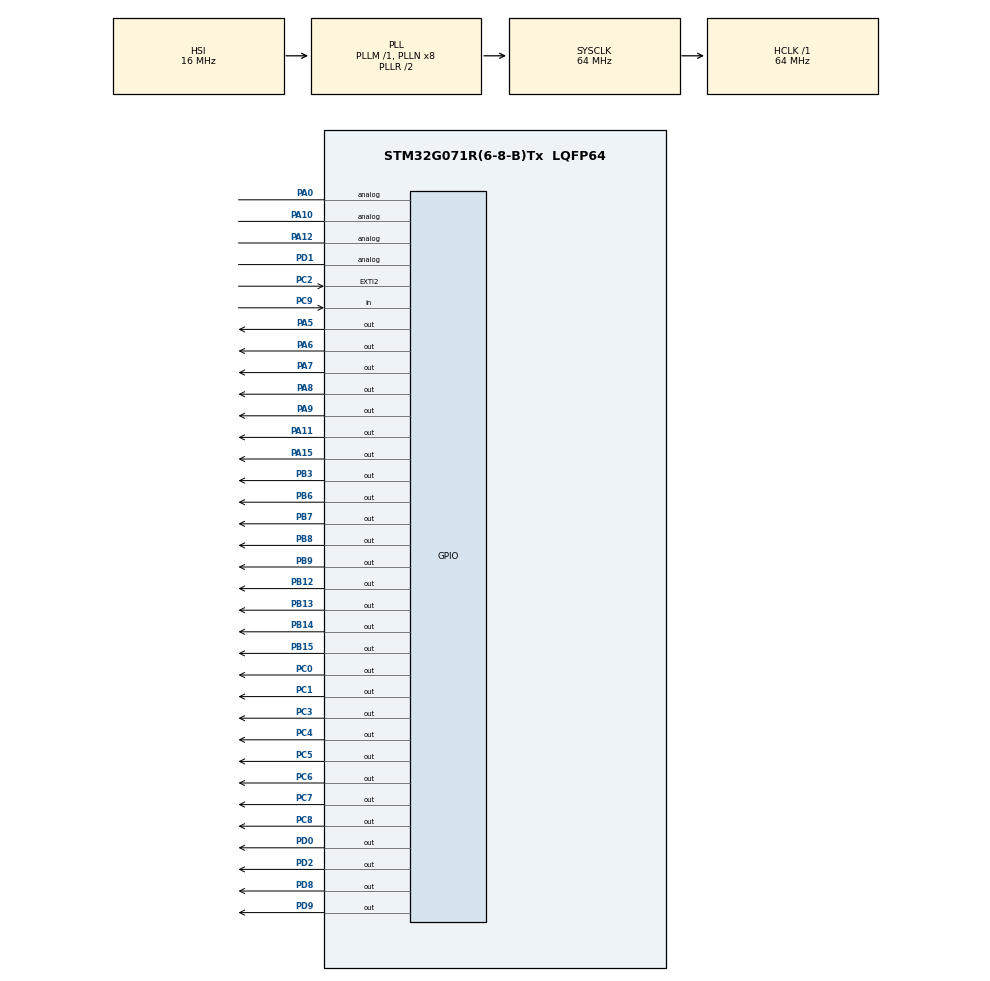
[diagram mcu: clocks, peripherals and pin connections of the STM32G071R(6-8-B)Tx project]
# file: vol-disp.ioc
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Mcu.Family=STM32G0
Mcu.Name=STM32G071R(6-8-B)Tx
Mcu.Package=LQFP64
NVIC.TIM6_DAC_LPTIM1_IRQn=true\:0\:0\:false\:false\:true\:true\:true\:true
PA0.Signal=GPIO_Analog
PA1.Signal=SPI1_SCK
PA10.Signal=GPIO_Analog
PA11\ [PA9].Signal=GPIO_Output
PA12\ [PA10].Signal=GPIO_Analog
PA13.Mode=Serial_Wire
PA13.Signal=SYS_SWDIO
PA14-BOOT0.Mode=Serial_Wire
PA14-BOOT0.Signal=SYS_SWCLK
PA15.Signal=GPIO_Output
PA2.Signal=SPI1_MOSI
PA3.Signal=SPI2_MISO
PA4.Signal=SPI1_NSS
PA5.Signal=GPIO_Output
PA6.Signal=GPIO_Output
PA7.Signal=GPIO_Output
PA8.Signal=GPIO_Output
PA9.Signal=GPIO_Output
PB12.Signal=GPIO_Output
PB13.Signal=GPIO_Output
PB14.Signal=GPIO_Output
PB15.Signal=GPIO_Output
PB3.Signal=GPIO_Output
PB6.Signal=GPIO_Output
PB7.Signal=GPIO_Output
PB8.Signal=GPIO_Output
PB9.Signal=GPIO_Output
PC0.Signal=GPIO_Output
PC1.Signal=GPIO_Output
PC10.Signal=USART3_TX
PC11.Signal=USART3_RX
PC2.Signal=GPXTI2
PC3.Signal=GPIO_Output
PC4.Signal=GPIO_Output
PC5.Signal=GPIO_Output
PC6.Signal=GPIO_Output
PC7.Signal=GPIO_Output
PC8.Signal=GPIO_Output
PC9.Signal=GPIO_Input
PD0.Signal=GPIO_Output
PD1.Signal=GPIO_Analog
PD2.Signal=GPIO_Output
PD8.Signal=GPIO_Output
PD9.Signal=GPIO_Output
ProjectManager.HeapSize=0x200
ProjectManager.StackSize=0x400
ProjectManager.TargetToolchain=STM32CubeIDE
RCC.ADCFreq_Value=64000000
RCC.AHBFreq_Value=64000000
RCC.CortexFreq_Value=64000000
RCC.EXTERNAL_CLOCK_VALUE=48000
RCC.HCLKFreq_Value=64000000
RCC.HSE_VALUE=8000000
RCC.HSI_VALUE=16000000
RCC.LSE_VALUE=32768
RCC.SYSCLKFreq_VALUE=64000000
RCC.SYSCLKSource=RCC_SYSCLKSOURCE_PLLCLK
RCC.VCOOutputFreq_Value=128000000
TIM6.Period=999
TIM6.Prescaler=999
VP_TIM6_VS_ClockSourceINT.Mode=Enable_Timer
board=custom

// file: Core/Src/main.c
/* USER CODE BEGIN Header */
/**
  ******************************************************************************
  * @file           : main.c
  * @brief          : Main program body
  ******************************************************************************
  * @attention
  *
  * Copyright (c) 2026 STMicroelectronics.
  * All rights reserved.
  *
  * This software is licensed under terms that can be found in the LICENSE file
  * in the root directory of this software component.
  * If no LICENSE file comes with this software, it is provided AS-IS.
  *
  ******************************************************************************
  */
#include <stdbool.h>
#include <stdio.h>
#include "pinDriver.h"
#include "pinRenderer.h"
#include "motorDriver.h"
#include "img.h"
/* USER CODE END Header */
#include "main.h"

TIM_HandleTypeDef htim6;

void SystemClock_Config(void);
static void MX_GPIO_Init(void);
static void MX_TIM6_Init(void);

/* USER CODE BEGIN 0 */

#ifndef SRC_PINDRIVER_H_
#define SRC_PINDRIVER_H_

#endif /* SRC_PINDRIVER_H_ */

/* USER CODE END 0 */

int main(void)
{

  /* MCU Configuration--------------------------------------------------------*/

  /* Reset of all peripherals, Initializes the Flash interface and the Systick. */
  HAL_Init();

  /* Configure the system clock */
  SystemClock_Config();

  /* Initialize all configured peripherals */
  MX_GPIO_Init();
  MX_TIM6_Init();
  /* USER CODE BEGIN 2 */
  HAL_TIM_Base_Start_IT(&htim6);

  GPIO_Outputs_Init();
  motorInit();
  initImgRender();

  loadImage(flame);
//  setFrame(1);
  /* USER CODE END 2 */

  /* Infinite loop */
  while (1)
  {

    /* USER CODE BEGIN 3 */
	tickImg();
	incMotor();
	HAL_Delay(1);
  }
  /* USER CODE END 3 */
}

void SystemClock_Config(void)
{
  RCC_OscInitTypeDef RCC_OscInitStruct = {0};
  RCC_ClkInitTypeDef RCC_ClkInitStruct = {0};

  /** Configure the main internal regulator output voltage
  */
  HAL_PWREx_ControlVoltageScaling(PWR_REGULATOR_VOLTAGE_SCALE1);

  /** Initializes the RCC Oscillators according to the specified parameters
  * in the RCC_OscInitTypeDef structure.
  */
  RCC_OscInitStruct.OscillatorType = RCC_OSCILLATORTYPE_HSI;
  RCC_OscInitStruct.HSIState = RCC_HSI_ON;
  RCC_OscInitStruct.HSIDiv = RCC_HSI_DIV1;
  RCC_OscInitStruct.HSICalibrationValue = RCC_HSICALIBRATION_DEFAULT;
  RCC_OscInitStruct.PLL.PLLState = RCC_PLL_ON;
  RCC_OscInitStruct.PLL.PLLSource = RCC_PLLSOURCE_HSI;
  RCC_OscInitStruct.PLL.PLLM = RCC_PLLM_DIV1;
  RCC_OscInitStruct.PLL.PLLN = 8;
  RCC_OscInitStruct.PLL.PLLP = RCC_PLLP_DIV2;
  RCC_OscInitStruct.PLL.PLLQ = RCC_PLLQ_DIV2;
  RCC_OscInitStruct.PLL.PLLR = RCC_PLLR_DIV2;
  if (HAL_RCC_OscConfig(&RCC_OscInitStruct) != HAL_OK)
  {
    Error_Handler();
  }

  /** Initializes the CPU, AHB and APB buses clocks
  */
  RCC_ClkInitStruct.ClockType = RCC_CLOCKTYPE_HCLK|RCC_CLOCKTYPE_SYSCLK
                              |RCC_CLOCKTYPE_PCLK1;
  RCC_ClkInitStruct.SYSCLKSource = RCC_SYSCLKSOURCE_PLLCLK;
  RCC_ClkInitStruct.AHBCLKDivider = RCC_SYSCLK_DIV1;
  RCC_ClkInitStruct.APB1CLKDivider = RCC_HCLK_DIV1;

  if (HAL_RCC_ClockConfig(&RCC_ClkInitStruct, FLASH_LATENCY_2) != HAL_OK)
  {
    Error_Handler();
  }
}

static void MX_TIM6_Init(void)
{

  TIM_MasterConfigTypeDef sMasterConfig = {0};

  htim6.Instance = TIM6;
  htim6.Init.Prescaler = 999;
  htim6.Init.CounterMode = TIM_COUNTERMODE_UP;
  htim6.Init.Period = 999;
  htim6.Init.AutoReloadPreload = TIM_AUTORELOAD_PRELOAD_DISABLE;
  if (HAL_TIM_Base_Init(&htim6) != HAL_OK)
  {
    Error_Handler();
  }
  sMasterConfig.MasterOutputTrigger = TIM_TRGO_RESET;
  sMasterConfig.MasterSlaveMode = TIM_MASTERSLAVEMODE_DISABLE;
  if (HAL_TIMEx_MasterConfigSynchronization(&htim6, &sMasterConfig) != HAL_OK)
  {
    Error_Handler();
  }

}

static void MX_GPIO_Init(void)
{
  GPIO_InitTypeDef GPIO_InitStruct = {0};

  /* GPIO Ports Clock Enable */
  __HAL_RCC_GPIOC_CLK_ENABLE();
  __HAL_RCC_GPIOA_CLK_ENABLE();
  __HAL_RCC_GPIOB_CLK_ENABLE();
  __HAL_RCC_GPIOD_CLK_ENABLE();

  /*Configure GPIO pin Output Level */
  HAL_GPIO_WritePin(GPIOC, GPIO_PIN_0|GPIO_PIN_1|GPIO_PIN_3|GPIO_PIN_4
                          |GPIO_PIN_5|GPIO_PIN_6|GPIO_PIN_7|GPIO_PIN_8, GPIO_PIN_RESET);

  /*Configure GPIO pin Output Level */
  HAL_GPIO_WritePin(GPIOA, GPIO_PIN_5|GPIO_PIN_6|GPIO_PIN_7|GPIO_PIN_8
                          |GPIO_PIN_9|GPIO_PIN_11|GPIO_PIN_15, GPIO_PIN_RESET);

  /*Configure GPIO pin Output Level */
  HAL_GPIO_WritePin(GPIOB, GPIO_PIN_12|GPIO_PIN_13|GPIO_PIN_14|GPIO_PIN_15
                          |GPIO_PIN_3|GPIO_PIN_6|GPIO_PIN_7|GPIO_PIN_8
                          |GPIO_PIN_9, GPIO_PIN_RESET);

  /*Configure GPIO pin Output Level */
  HAL_GPIO_WritePin(GPIOD, GPIO_PIN_8|GPIO_PIN_9|GPIO_PIN_0|GPIO_PIN_2, GPIO_PIN_RESET);

  /*Configure GPIO pins : PC11 PC10 */
  GPIO_InitStruct.Pin = GPIO_PIN_11|GPIO_PIN_10;
  GPIO_InitStruct.Mode = GPIO_MODE_AF_PP;
  GPIO_InitStruct.Pull = GPIO_NOPULL;
  GPIO_InitStruct.Speed = GPIO_SPEED_FREQ_LOW;
  GPIO_InitStruct.Alternate = GPIO_AF0_USART3;
  HAL_GPIO_Init(GPIOC, &GPIO_InitStruct);

  /*Configure GPIO pins : PC0 PC1 PC3 PC4
                           PC5 PC6 PC7 PC8 */
  GPIO_InitStruct.Pin = GPIO_PIN_0|GPIO_PIN_1|GPIO_PIN_3|GPIO_PIN_4
                          |GPIO_PIN_5|GPIO_PIN_6|GPIO_PIN_7|GPIO_PIN_8;
  GPIO_InitStruct.Mode = GPIO_MODE_OUTPUT_PP;
  GPIO_InitStruct.Pull = GPIO_NOPULL;
  GPIO_InitStruct.Speed = GPIO_SPEED_FREQ_LOW;
  HAL_GPIO_Init(GPIOC, &GPIO_InitStruct);

  /*Configure GPIO pin : PC2 */
  GPIO_InitStruct.Pin = GPIO_PIN_2;
  GPIO_InitStruct.Mode = GPIO_MODE_IT_RISING;
  GPIO_InitStruct.Pull = GPIO_NOPULL;
  HAL_GPIO_Init(GPIOC, &GPIO_InitStruct);

  /*Configure GPIO pins : PA0 PA10 PA12 */
  GPIO_InitStruct.Pin = GPIO_PIN_0|GPIO_PIN_10|GPIO_PIN_12;
  GPIO_InitStruct.Mode = GPIO_MODE_ANALOG;
  GPIO_InitStruct.Pull = GPIO_NOPULL;
  HAL_GPIO_Init(GPIOA, &GPIO_InitStruct);

  /*Configure GPIO pins : PA1 PA2 PA4 */
  GPIO_InitStruct.Pin = GPIO_PIN_1|GPIO_PIN_2|GPIO_PIN_4;
  GPIO_InitStruct.Mode = GPIO_MODE_AF_PP;
  GPIO_InitStruct.Pull = GPIO_NOPULL;
  GPIO_InitStruct.Speed = GPIO_SPEED_FREQ_LOW;
  GPIO_InitStruct.Alternate = GPIO_AF0_SPI1;
  HAL_GPIO_Init(GPIOA, &GPIO_InitStruct);

  /*Configure GPIO pin : PA3 */
  GPIO_InitStruct.Pin = GPIO_PIN_3;
  GPIO_InitStruct.Mode = GPIO_MODE_AF_PP;
  GPIO_InitStruct.Pull = GPIO_NOPULL;
  GPIO_InitStruct.Speed = GPIO_SPEED_FREQ_LOW;
  GPIO_InitStruct.Alternate = GPIO_AF0_SPI2;
  HAL_GPIO_Init(GPIOA, &GPIO_InitStruct);

  /*Configure GPIO pins : PA5 PA6 PA7 PA8
                           PA9 PA11 PA15 */
  GPIO_InitStruct.Pin = GPIO_PIN_5|GPIO_PIN_6|GPIO_PIN_7|GPIO_PIN_8
                          |GPIO_PIN_9|GPIO_PIN_11|GPIO_PIN_15;
  GPIO_InitStruct.Mode = GPIO_MODE_OUTPUT_PP;
  GPIO_InitStruct.Pull = GPIO_NOPULL;
  GPIO_InitStruct.Speed = GPIO_SPEED_FREQ_LOW;
  HAL_GPIO_Init(GPIOA, &GPIO_InitStruct);

  /*Configure GPIO pins : PB12 PB13 PB14 PB15
                           PB3 PB6 PB7 PB8
                           PB9 */
  GPIO_InitStruct.Pin = GPIO_PIN_12|GPIO_PIN_13|GPIO_PIN_14|GPIO_PIN_15
                          |GPIO_PIN_3|GPIO_PIN_6|GPIO_PIN_7|GPIO_PIN_8
                          |GPIO_PIN_9;
  GPIO_InitStruct.Mode = GPIO_MODE_OUTPUT_PP;
  GPIO_InitStruct.Pull = GPIO_NOPULL;
  GPIO_InitStruct.Speed = GPIO_SPEED_FREQ_LOW;
  HAL_GPIO_Init(GPIOB, &GPIO_InitStruct);

  /*Configure GPIO pins : PD8 PD9 PD0 PD2 */
  GPIO_InitStruct.Pin = GPIO_PIN_8|GPIO_PIN_9|GPIO_PIN_0|GPIO_PIN_2;
  GPIO_InitStruct.Mode = GPIO_MODE_OUTPUT_PP;
  GPIO_InitStruct.Pull = GPIO_NOPULL;
  GPIO_InitStruct.Speed = GPIO_SPEED_FREQ_LOW;
  HAL_GPIO_Init(GPIOD, &GPIO_InitStruct);

  /*Configure GPIO pin : PC9 */
  GPIO_InitStruct.Pin = GPIO_PIN_9;
  GPIO_InitStruct.Mode = GPIO_MODE_INPUT;
  GPIO_InitStruct.Pull = GPIO_NOPULL;
  HAL_GPIO_Init(GPIOC, &GPIO_InitStruct);

  /*Configure GPIO pin : PD1 */
  GPIO_InitStruct.Pin = GPIO_PIN_1;
  GPIO_InitStruct.Mode = GPIO_MODE_ANALOG;
  GPIO_InitStruct.Pull = GPIO_NOPULL;
  HAL_GPIO_Init(GPIOD, &GPIO_InitStruct);

}

/* USER CODE BEGIN 4 */
volatile uint32_t tick64 = 0;

void HAL_TIM_PeriodElapsedCallback(TIM_HandleTypeDef *htim)
{
    if (htim->Instance == TIM6)
    {
    	incFrame();

    }
}
/* USER CODE END 4 */

void Error_Handler(void)
{
  __disable_irq();
  while (1)
  {
  }
}
